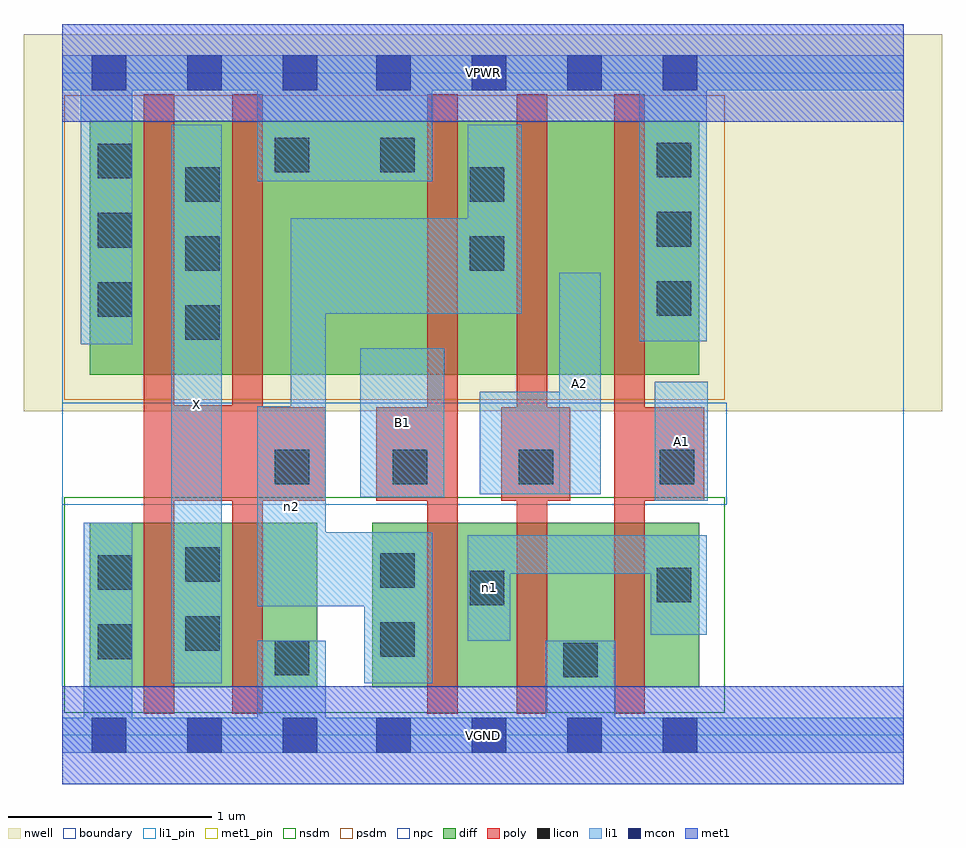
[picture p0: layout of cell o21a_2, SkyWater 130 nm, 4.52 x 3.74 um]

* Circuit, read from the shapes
.subckt o21a_2 A1 A2 B1 VGND VPWR X n1 n2
XM1 X n2 VGND VSUBS sky130_fd_pr__nfet_01v8 w=0.81 l=0.15 m=2
XM2 n1 B1 n2 VSUBS sky130_fd_pr__nfet_01v8 w=0.81 l=0.15
XM3 VGND A2 n1 VSUBS sky130_fd_pr__nfet_01v8 w=0.81 l=0.15
XM4 n1 A1 VGND VSUBS sky130_fd_pr__nfet_01v8 w=0.81 l=0.15
XM5 X n2 VPWR n3 sky130_fd_pr__pfet_01v8 w=1.25 l=0.15 m=2
XM6 n2 B1 VPWR n3 sky130_fd_pr__pfet_01v8 w=1.25 l=0.15
XM7 n4 A2 n2 n3 sky130_fd_pr__pfet_01v8 w=1.25 l=0.15
XM8 VPWR A1 n4 n3 sky130_fd_pr__pfet_01v8 w=1.25 l=0.15
.ends

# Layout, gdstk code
import gdstk
lib = gdstk.Library(unit=1e-6, precision=1e-09)
def R(c, l, rs):  # rectangles x0, y0, x1, y1
    for r in rs: c.add(gdstk.rectangle(r[:2], r[2:], *l))
def A(c, l, x, y, w, h, nx, ny, dx, dy):  # array of equal rectangles
    R(c, l, [(x+i*dx, y+j*dy, x+i*dx+w, y+j*dy+h) for i in range(nx) for j in range(ny)])
nwell = (64, 20)
diff = (65, 20)
poly = (66, 20)
licon = (66, 44)
li1_pin = (67, 16)
li1 = (67, 20)
mcon = (67, 44)
met1_pin = (68, 16)
met1 = (68, 20)
nsdm = (93, 44)
psdm = (94, 20)
npc = (95, 20)
boundary = (235, 4)

o21a_2 = lib.new_cell('o21a_2')
R(o21a_2, nwell, [(-0.19,1.595,4.33,3.45), (0,1.595,4.14,3.45)])
R(o21a_2, diff, [(0.135,0.235,1.255,1.045), (1.525,0.235,3.135,1.045), (0.135,1.775,3.135,3.025)])
R(o21a_2, poly, [(0.4,0.105,0.55,3.155), (0.835,0.105,0.985,3.155), (1.795,0.105,1.945,3.155), (2.235,0.105,2.385,3.155), (2.715,0.105,2.865,3.155), (0.4,1.155,1.295,1.615), (0.4,1.155,0.985,1.625), (1.545,1.155,1.945,1.615), (2.16,1.155,2.5,1.615), (2.715,1.155,3.16,1.615)])
A(o21a_2, licon, 0.605, 1.945, 0.17, 0.17, 1, 3, 0, 0.34)
A(o21a_2, licon, 0.175, 2.06, 0.17, 0.17, 1, 3, 0, 0.34)
A(o21a_2, licon, 2.925, 2.065, 0.17, 0.17, 1, 3, 0, 0.34)
R(o21a_2, licon, [(2.465,0.285,2.635,0.455), (1.045,0.295,1.215,0.465), (0.175,0.375,0.345,0.545), (1.565,0.385,1.735,0.555), (0.605,0.415,0.775,0.585), (2.005,0.64,2.175,0.81), (2.925,0.655,3.095,0.825), (0.175,0.715,0.345,0.885), (1.565,0.725,1.735,0.895), (0.605,0.755,0.775,0.925), (1.045,1.235,1.215,1.405), (1.625,1.235,1.795,1.405), (2.245,1.235,2.415,1.405), (2.94,1.235,3.11,1.405), (2.005,2.285,2.175,2.455), (2.005,2.625,2.175,2.795), (1.045,2.77,1.215,2.94), (1.565,2.77,1.735,2.94)])
R(o21a_2, li1_pin, [(0.535,0.255,0.785,3.005), (2.915,1.155,3.175,1.74), (1.465,1.17,1.88,1.905), (2.445,1.185,2.65,2.275)])
R(o21a_2, li1, [(0,-0.085,4.14,0.085), (0.105,-0.085,0.345,1.045), (0.96,-0.085,1.295,0.465), (2.38,-0.085,2.72,0.465), (0.535,0.255,0.785,3.005), (1.485,0.255,1.82,1), (1.995,0.465,2.205,0.985), (2.895,0.495,3.17,0.985), (0.96,0.635,1.295,1.62), (0.96,0.635,1.82,1), (1.125,0.635,1.295,2.545), (1.995,0.795,3.17,0.985), (2.915,1.155,3.175,1.74), (1.465,1.17,1.88,1.905), (2.055,1.185,2.65,1.69), (2.445,1.185,2.65,2.275), (0.09,1.925,0.345,3.345), (2.84,1.94,3.17,3.345), (1.125,2.075,2.26,2.545), (1.995,2.075,2.26,3.005), (0.96,2.725,1.82,3.345), (0,3.175,4.14,3.345)])
A(o21a_2, mcon, 0.145, -0.085, 0.17, 0.17, 3, 2, 0.47, 3.26)
A(o21a_2, mcon, 1.545, -0.085, 0.17, 0.17, 4, 2, 0.47, 3.26)
R(o21a_2, met1_pin, [(0,-0.24,4.14,0.24), (0,3.02,4.14,3.5)])
R(o21a_2, met1, [(0,-0.24,4.14,0.24), (0,3.02,4.14,3.5)])
R(o21a_2, nsdm, [(0.01,0.11,3.26,1.17)])
R(o21a_2, psdm, [(0.01,1.65,3.26,3.15)])
R(o21a_2, npc, [(0,1.135,3.27,1.635)])
R(o21a_2, boundary, [(0,0,4.14,3.26)])
o21a_2.add(gdstk.Label('A1', (3.045,1.447), layer=67, texttype=5))
o21a_2.add(gdstk.Label('A2', (2.547,1.73), layer=67, texttype=5))
o21a_2.add(gdstk.Label('B1', (1.672,1.537), layer=67, texttype=5))
o21a_2.add(gdstk.Label('X', (0.66,1.63), layer=67, texttype=5))
o21a_2.add(gdstk.Label('n1', (2.1,0.725), layer=67, texttype=5))
o21a_2.add(gdstk.Label('n2', (1.127,1.127), layer=67, texttype=5))
o21a_2.add(gdstk.Label('VPWR', (2.07,3.26), layer=68, texttype=5))
o21a_2.add(gdstk.Label('VGND', (2.07,0), layer=68, texttype=5))
o21a_2.add(gdstk.Label('A1', (3.045,1.447), layer=67, texttype=16))
o21a_2.add(gdstk.Label('A2', (2.547,1.73), layer=67, texttype=16))
o21a_2.add(gdstk.Label('B1', (1.672,1.537), layer=67, texttype=16))
o21a_2.add(gdstk.Label('X', (0.66,1.63), layer=67, texttype=16))
o21a_2.add(gdstk.Label('VPWR', (2.07,3.26), layer=68, texttype=16))
o21a_2.add(gdstk.Label('VGND', (2.07,0), layer=68, texttype=16))

lib.write_gds('o21a_2.gds')
